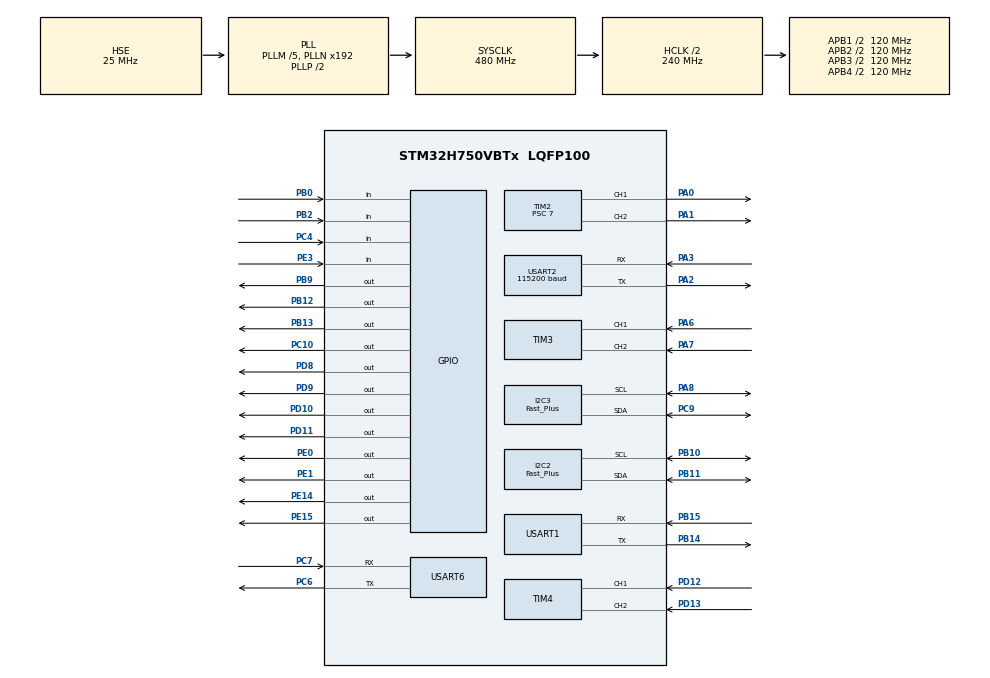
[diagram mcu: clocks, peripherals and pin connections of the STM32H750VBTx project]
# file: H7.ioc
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CORTEX_M7.default_mode_Activation=1
I2C2.I2C_Speed_Mode=I2C_Fast_Plus
I2C2.Timing=0x0050174F
I2C3.I2C_Speed_Mode=I2C_Fast_Plus
I2C3.Timing=0x0050174F
Mcu.Family=STM32H7
Mcu.Name=STM32H750VBTx
Mcu.Package=LQFP100
NVIC.PriorityGroup=NVIC_PRIORITYGROUP_4
NVIC.TIM3_IRQn=true\:0\:0\:false\:false\:true\:true\:true\:true
NVIC.TIM4_IRQn=true\:0\:0\:false\:false\:true\:true\:true\:true
NVIC.TIM5_IRQn=true\:0\:0\:false\:false\:true\:true\:true\:true
NVIC.USART1_IRQn=true\:0\:0\:false\:false\:true\:true\:true\:true
NVIC.USART2_IRQn=true\:0\:0\:false\:false\:true\:true\:true\:true
NVIC.USART6_IRQn=true\:0\:0\:false\:false\:true\:true\:true\:true
PA0.Signal=S_TIM2_CH1_ETR
PA1.Signal=S_TIM2_CH2
PA2.Mode=Asynchronous
PA2.Signal=USART2_TX
PA3.Mode=Asynchronous
PA3.Signal=USART2_RX
PA6.Signal=S_TIM3_CH1
PA7.Signal=S_TIM3_CH2
PA8.Mode=I2C
PA8.Signal=I2C3_SCL
PB0.GPIO_PuPd=GPIO_PULLUP
PB0.Signal=GPIO_Input
PB10.Mode=I2C
PB10.Signal=I2C2_SCL
PB11.Mode=I2C
PB11.Signal=I2C2_SDA
PB12.Signal=GPIO_Output
PB13.Signal=GPIO_Output
PB14.Mode=Asynchronous
PB14.Signal=USART1_TX
PB15.Mode=Asynchronous
PB15.Signal=USART1_RX
PB2.GPIO_PuPd=GPIO_PULLUP
PB2.Signal=GPIO_Input
PB9.Signal=GPIO_Output
PC10.PinState=GPIO_PIN_SET
PC10.Signal=GPIO_Output
PC4.GPIO_PuPd=GPIO_PULLUP
PC4.Signal=GPIO_Input
PC6.Mode=Asynchronous
PC6.Signal=USART6_TX
PC7.Mode=Asynchronous
PC7.Signal=USART6_RX
PC9.Mode=I2C
PC9.Signal=I2C3_SDA
PD10.Signal=GPIO_Output
PD11.PinState=GPIO_PIN_SET
PD11.Signal=GPIO_Output
PD12.Signal=S_TIM4_CH1
PD13.Signal=S_TIM4_CH2
PD8.Signal=GPIO_Output
PD9.Signal=GPIO_Output
PE0.PinState=GPIO_PIN_SET
PE0.Signal=GPIO_Output
PE1.PinState=GPIO_PIN_SET
PE1.Signal=GPIO_Output
PE14.PinState=GPIO_PIN_SET
PE14.Signal=GPIO_Output
PE15.PinState=GPIO_PIN_SET
PE15.Signal=GPIO_Output
PE3.Signal=GPIO_Input
PH0-OSC_IN\ (PH0).Mode=HSE-External-Oscillator
PH0-OSC_IN\ (PH0).Signal=RCC_OSC_IN
PH1-OSC_OUT\ (PH1).Mode=HSE-External-Oscillator
PH1-OSC_OUT\ (PH1).Signal=RCC_OSC_OUT
ProjectManager.HeapSize=0x200
ProjectManager.StackSize=0x400
ProjectManager.TargetToolchain=MDK-ARM V5.32
RCC.ADCFreq_Value=50390625
RCC.APB1Freq_Value=120000000
RCC.APB2Freq_Value=120000000
RCC.APB3Freq_Value=120000000
RCC.APB4Freq_Value=120000000
RCC.CortexFreq_Value=480000000
RCC.D1PPRE=RCC_APB3_DIV2
RCC.D2PPRE1=RCC_APB1_DIV2
RCC.D2PPRE2=RCC_APB2_DIV2
RCC.D3PPRE=RCC_APB4_DIV2
RCC.DIVM1=5
RCC.DIVN1=192
RCC.HCLKFreq_Value=240000000
RCC.HPRE=RCC_HCLK_DIV2
RCC.PLL2FRACN=0
RCC.PLL3FRACN=0
RCC.PLLFRACN=0
RCC.PLLSourceVirtual=RCC_PLLSOURCE_HSE
RCC.SYSCLKFreq_VALUE=480000000
RCC.SYSCLKSource=RCC_SYSCLKSOURCE_PLLCLK
RCC.USBFreq_Value=480000000
SH.S_TIM2_CH1_ETR.0=TIM2_CH1,PWM Generation1 CH1
SH.S_TIM2_CH2.0=TIM2_CH2,PWM Generation2 CH2
SH.S_TIM3_CH1.0=TIM3_CH1,Encoder_Interface
SH.S_TIM3_CH2.0=TIM3_CH2,Encoder_Interface
SH.S_TIM4_CH1.0=TIM4_CH1,Encoder_Interface
SH.S_TIM4_CH2.0=TIM4_CH2,Encoder_Interface
TIM2.Channel-PWM\ Generation1\ CH1=TIM_CHANNEL_1
TIM2.Channel-PWM\ Generation2\ CH2=TIM_CHANNEL_2
TIM2.Period=9999
TIM2.Prescaler=7
TIM3.AutoReloadPreload=TIM_AUTORELOAD_PRELOAD_ENABLE
TIM3.EncoderMode=TIM_ENCODERMODE_TI12
TIM4.AutoReloadPreload=TIM_AUTORELOAD_PRELOAD_ENABLE
TIM4.EncoderMode=TIM_ENCODERMODE_TI12
TIM4.IC1Polarity=TIM_ICPOLARITY_RISING
TIM4.IC2Polarity=TIM_ICPOLARITY_RISING
TIM5.AutoReloadPreload=TIM_AUTORELOAD_PRELOAD_ENABLE
TIM5.Period=9999
TIM5.Prescaler=239
USART1.VirtualMode-Asynchronous=VM_ASYNC
USART2.BaudRate=115200
USART2.VirtualMode-Asynchronous=VM_ASYNC
USART6.VirtualMode=VM_ASYNC
VP_TIM5_VS_ClockSourceINT.Mode=Internal
board=custom

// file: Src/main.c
/* USER CODE BEGIN Header */
/**
  ******************************************************************************
  * @file           : main.c
  * @brief          : Main program body
  ******************************************************************************
  * @attention
  *
  * Copyright (c) 2024 STMicroelectronics.
  * All rights reserved.
  *
  * This software is licensed under terms that can be found in the LICENSE file
  * in the root directory of this software component.
  * If no LICENSE file comes with this software, it is provided AS-IS.
  *
  ******************************************************************************
  */
/* USER CODE END Header */
#include "main.h"
#include "i2c.h"
#include "tim.h"
#include "usart.h"
#include "gpio.h"

/* USER CODE BEGIN Includes */
#include "oled.h"
#include "stdio.h"
#include <stdarg.h>
#include "motor.h"
#include "control.h"
#include "uart_it.h"

//********************************************************
uint8_t angle=150;   //90  120
uint8_t state = 0;   //串口状???
uint8_t Date[10] = {0}; //接收数组
uint8_t state1 = 0;   //串口状???
uint8_t Date1[20] = {0}; //接收数组
uint16_t shuliang = 0;   //数字个数
int number[4] = {0};
uint8_t tick = 0;
int color =0; //当前胶带颜色 0red 1black 2wuse
uint8_t T_num=0;
//*********************************************************

//||||||||||||||||||||||||||||||||||||||||||||||||||||||||||//

uint8_t
hhh,hhhh,hhhhh=0,									//一次性变量用与使特定程序只执行一次
zhongbingfangnum[2]={0},				//中间病房
for_ru_num[4]={0},							//4数字位置
moweibingfangnum[2]={0},					//终点病房数字位置
zhuanwan[4]={'A',0,0,0},
back=0,
BL_RX[12]={0},
BL_RX4[4]={0};
;
union blue
{
	uint8_t RX_B[4];
	float   ffff;

};
union blue blue_RX;
int
lukou=0,				//路口变量lukou为当前第几次路口，zhuanwan[]为第几次路口时的运动方向，用于返回
zhuangtai01 = -1,//用于确定车的普通状态，-1初始位置停止，0去时巡线执行，1转弯，2病房处停止，3病房处转一圈，4回时巡线，5回时巡线转弯，6任务结束停止,7拐弯巡线
zhuangtai02 = -1,//用于确定车的发挥1状态，-1,停止，0正常寻线，1找到岔路口判断是否转弯并发送自己转弯状态，3低速巡线走，4黑线停止并发送命令（启动）并等待接收
zhuangtai03=-1,		//用于确定车的发挥1状态，-1,停止，0正常寻线，1找到岔路口判断是否转弯并发送自己转弯状态和附属车转弯状态，2二号岔路口等待附属车传参,3低速巡线走，4黑线停止，5转弯并发送命令等待接收附属车到位（同侧和非同侧），6任务结束
timu=0
;
uint64_t set_jvli_A,set_jvli_B;
/* USER CODE END Includes */

/* USER CODE BEGIN PTD */
void led(char ch)
{
	if(ch=='F')
	{
		HAL_GPIO_WritePin(GPIOB,GPIO_PIN_9,GPIO_PIN_RESET);
		HAL_GPIO_WritePin(GPIOE,GPIO_PIN_0,GPIO_PIN_SET);
		HAL_GPIO_WritePin(GPIOE,GPIO_PIN_1,GPIO_PIN_SET);
	}
	else if(ch=='G')
	{	HAL_GPIO_WritePin(GPIOB,GPIO_PIN_9,GPIO_PIN_SET);
		HAL_GPIO_WritePin(GPIOE,GPIO_PIN_0,GPIO_PIN_SET);
		HAL_GPIO_WritePin(GPIOE,GPIO_PIN_1,GPIO_PIN_SET);}
	else if(ch=='Y')
	{	HAL_GPIO_WritePin(GPIOB,GPIO_PIN_9,GPIO_PIN_RESET);
		HAL_GPIO_WritePin(GPIOE,GPIO_PIN_0,GPIO_PIN_SET);
		HAL_GPIO_WritePin(GPIOE,GPIO_PIN_1,GPIO_PIN_RESET);}
	else if(ch=='R')
	{	HAL_GPIO_WritePin(GPIOB,GPIO_PIN_9,GPIO_PIN_RESET);
		HAL_GPIO_WritePin(GPIOE,GPIO_PIN_0,GPIO_PIN_RESET);
		HAL_GPIO_WritePin(GPIOE,GPIO_PIN_1,GPIO_PIN_SET);}
}
/* USER CODE END PTD */

void SystemClock_Config(void);
static void MPU_Config(void);

int main(void)
{

  /* MPU Configuration--------------------------------------------------------*/
  MPU_Config();

  /* MCU Configuration--------------------------------------------------------*/

  /* Reset of all peripherals, Initializes the Flash interface and the Systick. */
  HAL_Init();

  /* Configure the system clock */
  SystemClock_Config();

  /* Initialize all configured peripherals */
  MX_GPIO_Init();
  MX_I2C2_Init();
  MX_TIM2_Init();
  MX_TIM3_Init();
  MX_TIM4_Init();
  MX_USART2_UART_Init();
  MX_I2C3_Init();
  MX_TIM5_Init();
  MX_USART1_UART_Init();
  MX_USART6_UART_Init();
  /* USER CODE BEGIN 2 */
	OLED_Init();
	OLED_FullyClear();
	OLED_ShowChar(0,0,'T',16);
	OLED_ShowChar(16,0,'T',16);
	while(1)//题目菜单
	{
		if(HAL_GPIO_ReadPin(GPIOB,GPIO_PIN_2)==0)
		{
		timu++;
		if(timu>3)
		{
		timu=0;
		}
		if(timu==0)
		{
		OLED_ShowChar(0,0,'T',16);
		OLED_ShowChar(16,0,'T',16);
		}
		if(timu==1)
		{
		OLED_ShowChar(0,0,'F',16);
		OLED_ShowChar(16,0,'1',16);
		}
		if(timu==2)
		{
		OLED_ShowChar(0,0,'F',16);
		OLED_ShowChar(16,0,'2',16);
		}
		if(timu==3)
		{
		OLED_ShowChar(0,0,'F',16);
		OLED_ShowChar(16,0,'6',16);
		}
		HAL_Delay(300);
		}
		else if(HAL_GPIO_ReadPin(GPIOB,GPIO_PIN_0)==0)
		{
			if(timu==1)
			{
			uint8_t blu_tX[3]={0XF0,0X01,0X0F};
			HAL_UART_Transmit(&huart2,blu_tX,3,0Xffff);
			}
			else	if(timu==2)
			{
			uint8_t blu_tX[3]={0XF0,0X02,0X0F};
			HAL_UART_Transmit(&huart2,blu_tX,3,0Xffff);
			}
			OLED_FullyClear();
			break;
		}
		HAL_Delay(1);
	}
	//init
	HAL_TIM_Encoder_Start(&htim3,TIM_CHANNEL_1|TIM_CHANNEL_2);
	HAL_TIM_Encoder_Start(&htim4,TIM_CHANNEL_1|TIM_CHANNEL_2);
	HAL_TIM_PWM_Start(&htim2,TIM_CHANNEL_1);
	HAL_TIM_PWM_Start(&htim2,TIM_CHANNEL_2);
	int i=0;
  motor_init();
	char dir[8];
	int num_shu[4] = {0};
	for(i=0;i<10;i++)
	{
  uart_it_init();
		if(timu==1)
		{
	HAL_UART_Receive_IT(&huart2,BL_RX,12);
		}
		else
			HAL_UART_Receive_IT(&huart2,BL_RX,4);
	HAL_Delay(10);
	}
	HAL_TIM_Base_Start_IT(&htim3);
	HAL_TIM_Base_Start_IT(&htim4);
	HAL_TIM_Base_Start_IT(&htim5);
	int cnt=0;
	hhh=0;

	Tv_A=0;Tv_B=0;
  /* USER CODE END 2 */

  /* Infinite loop */
  /* USER CODE BEGIN WHILE */

  while (1)
  {

		if (state == 1)    //串口1接收完毕,等待处理
    {
      width =Date[0];
      now = Date[1];
			color = Date[2];
      state = 0;
    }										//

		if(timu==0)
		{
		while(zhuangtai01==-1&&HAL_GPIO_ReadPin(GPIOE,GPIO_PIN_3)==0)
		{
		cnt++;
		HAL_Delay(10);
			if(cnt>150)
			{
			cnt=0;
			zhuangtai01=0;
			}
		}

		while(zhuangtai01==2&&HAL_GPIO_ReadPin(GPIOE,GPIO_PIN_3)==1)
		{
		cnt++;
		HAL_Delay(10);
			if(cnt>150)
			{
			cnt=0;
			zhuangtai01=3;
				led('F');
			}
		}

		if(color==0&&width>=65&&hhh==0&&(zhuangtai01==0||zhuangtai01==7))//岔路口检测函数
		{led('Y');
			set_jvli_A=z_A;
			set_jvli_B=z_B;
			if(back==0)
			lukou++;
			else
			lukou--;
			zhuangtai01=1;
			hhh=1;//运行一次标志位
		}
		else if(color==0&&width<65&&(zhuangtai01==0||zhuangtai01==7))//标志位置0
		{
			led('F');
		hhh=0;
		}

		if(zhuangtai01!=1&&color==1&&hhh==0)
		{
			set_jvli_A=z_A;
			set_jvli_B=z_B;
			if(back==0)
				zhuangtai01=2;
			else
				zhuangtai01=6;
			hhh=1;
		}

		OLED_ShowChar(0,3,zhongbingfangnum[0]+'0',16);
		OLED_ShowChar(16,3,zhongbingfangnum[1]+'0',16);
		OLED_ShowChar(32,3,0,16);
		OLED_ShowChar(48,3,for_ru_num[0]+'0',16);
		OLED_ShowChar(64,3,for_ru_num[1]+'0',16);
		OLED_ShowChar(80,3,for_ru_num[2]+'0',16);
		OLED_ShowChar(96,3,for_ru_num[3]+'0',16);
		OLED_ShowChar(0,5,zhuanwan[0],16);
		OLED_ShowChar(17,5,zhuanwan[1],16);
		OLED_ShowChar(34,5,zhuanwan[2],16);
		OLED_ShowChar(51,5,zhuanwan[3],16);
		OLED_ShowStr1(78, 5,T_num, 1, 16);
		OLED_ShowStr1(0, 0, width, 3, 16);
		OLED_ShowStr1(32, 0,now,3, 16);
		OLED_ShowStr1(100, 0,lukou,2, 16);
		OLED_ShowStr1(64, 0,zhuangtai03,1, 16);

		}

		else if(timu==1)
		{
			OLED_ShowStr(0,0,(uint8_t *)"BLE",16);
			OLED_ShowStr1(0, 3,(int)v_A, 3, 16);
			OLED_ShowStr1(64, 3,(int)v_B,3, 16);
		}
    /* USER CODE END WHILE */

	}
}

void SystemClock_Config(void)
{
  RCC_OscInitTypeDef RCC_OscInitStruct = {0};
  RCC_ClkInitTypeDef RCC_ClkInitStruct = {0};

  /** Supply configuration update enable
  */
  HAL_PWREx_ConfigSupply(PWR_LDO_SUPPLY);

  /** Configure the main internal regulator output voltage
  */
  __HAL_PWR_VOLTAGESCALING_CONFIG(PWR_REGULATOR_VOLTAGE_SCALE1);

  while(!__HAL_PWR_GET_FLAG(PWR_FLAG_VOSRDY)) {}

  __HAL_RCC_SYSCFG_CLK_ENABLE();
  __HAL_PWR_VOLTAGESCALING_CONFIG(PWR_REGULATOR_VOLTAGE_SCALE0);

  while(!__HAL_PWR_GET_FLAG(PWR_FLAG_VOSRDY)) {}

  /** Initializes the RCC Oscillators according to the specified parameters
  * in the RCC_OscInitTypeDef structure.
  */
  RCC_OscInitStruct.OscillatorType = RCC_OSCILLATORTYPE_HSE;
  RCC_OscInitStruct.HSEState = RCC_HSE_ON;
  RCC_OscInitStruct.PLL.PLLState = RCC_PLL_ON;
  RCC_OscInitStruct.PLL.PLLSource = RCC_PLLSOURCE_HSE;
  RCC_OscInitStruct.PLL.PLLM = 5;
  RCC_OscInitStruct.PLL.PLLN = 192;
  RCC_OscInitStruct.PLL.PLLP = 2;
  RCC_OscInitStruct.PLL.PLLQ = 2;
  RCC_OscInitStruct.PLL.PLLR = 2;
  RCC_OscInitStruct.PLL.PLLRGE = RCC_PLL1VCIRANGE_2;
  RCC_OscInitStruct.PLL.PLLVCOSEL = RCC_PLL1VCOWIDE;
  RCC_OscInitStruct.PLL.PLLFRACN = 0;
  if (HAL_RCC_OscConfig(&RCC_OscInitStruct) != HAL_OK)
  {
    Error_Handler();
  }

  /** Initializes the CPU, AHB and APB buses clocks
  */
  RCC_ClkInitStruct.ClockType = RCC_CLOCKTYPE_HCLK|RCC_CLOCKTYPE_SYSCLK
                              |RCC_CLOCKTYPE_PCLK1|RCC_CLOCKTYPE_PCLK2
                              |RCC_CLOCKTYPE_D3PCLK1|RCC_CLOCKTYPE_D1PCLK1;
  RCC_ClkInitStruct.SYSCLKSource = RCC_SYSCLKSOURCE_PLLCLK;
  RCC_ClkInitStruct.SYSCLKDivider = RCC_SYSCLK_DIV1;
  RCC_ClkInitStruct.AHBCLKDivider = RCC_HCLK_DIV2;
  RCC_ClkInitStruct.APB3CLKDivider = RCC_APB3_DIV2;
  RCC_ClkInitStruct.APB1CLKDivider = RCC_APB1_DIV2;
  RCC_ClkInitStruct.APB2CLKDivider = RCC_APB2_DIV2;
  RCC_ClkInitStruct.APB4CLKDivider = RCC_APB4_DIV2;

  if (HAL_RCC_ClockConfig(&RCC_ClkInitStruct, FLASH_LATENCY_4) != HAL_OK)
  {
    Error_Handler();
  }
}

/* USER CODE BEGIN 4 */

void HAL_UART_RxCpltCallback(UART_HandleTypeDef *huart)
{

  if(huart == &huart1)
  {
		uart_it_receive(&huart1,Date,&state);
  }

	else if(huart == &huart6)
  {
		uart_it_receive1(&huart6,Date1,&state1);

  }
	else if(huart == &huart2)
  {
		if(timu==1)
		{
		if(BL_RX[0]==0XA5&&BL_RX[11]==0X5A)
		{
			if(BL_RX[1]==1)
			{
				hhhhh=1;
				set_jvli_A=z_A;
				set_jvli_B=z_B;
				get_T_distence(set_jvli_A,set_jvli_B);
			}
			else if(BL_RX[1]==2)
			{
				hhhhh=2;
			}
			else
			{
				hhhhh=0;
				blue_RX.RX_B[0]=BL_RX[2];
				blue_RX.RX_B[1]=BL_RX[3];
				blue_RX.RX_B[2]=BL_RX[4];
				blue_RX.RX_B[3]=BL_RX[5];
				Tv_A=blue_RX.ffff;
				Tv_B=blue_RX.ffff;
				blue_RX.RX_B[0]=BL_RX[6];
				blue_RX.RX_B[1]=BL_RX[7];
				blue_RX.RX_B[2]=BL_RX[8];
				blue_RX.RX_B[3]=BL_RX[9];
				Tv_A=Tv_A+blue_RX.ffff/3;
				Tv_B=Tv_B-blue_RX.ffff/3;
			}

		}

		HAL_UART_Receive_IT(&huart2,BL_RX,12);

		}
		else
		{
			int ccccc;
			for(ccccc=0;ccccc<4;ccccc++)
			{
			if(BL_RX[ccccc]==0)
			{
			zhuanwan[ccccc]=0;
			}
			else if(BL_RX[ccccc]==1)
			{
			zhuanwan[ccccc]='A';
			}
			else if(BL_RX[ccccc]==2)
			{
			zhuanwan[ccccc]='B';
			}

			}
			HAL_UART_Receive_IT(&huart2,BL_RX,4);
		}
  }
}

void HAL_TIM_PeriodElapsedCallback(TIM_HandleTypeDef *htim)
{

  if (htim == &htim3)
  {
		if(v_A>=0)
    ceh_A++;   //tim1计数溢出
		else
			ceh_A--;
  }

  if (htim == &htim4)
  {
		if(v_B>=0)
    ceh_B++;  //tim8计数溢出
		else
			ceh_B--;
  }

  if (htim == &htim5)
  {

    motor_handle();   //速度pid控制
		if(tick==1){
			if(timu==0)
			{
      if (zhuangtai01 == -1)//初始停止状态
      {
					Tv_A=0;
					Tv_B=0;
      }
			else if (zhuangtai01 == 0||zhuangtai01==7)//巡线状态
      {
					line_pid(80,zhuangtai01);
      }
			else if(zhuangtai01==1)//转弯状态相关
			{
				if(back==0)
				{
					if(zhuanwan[lukou-1]=='A')
					{
						if(z_A<set_jvli_A+700 && z_B<set_jvli_B+700 ){line_pid(80,zhuangtai01);}
					else
					{
					get_T_distence(set_jvli_A+700,set_jvli_B+700+1700);
					distence_A_pid();
					distence_B_pid();
					if(distence_A_er*distence_A_er<10&&distence_B_er*distence_B_er<10)
					{
					zhuangtai01=7;
					}
					}

					}
					else if(zhuanwan[lukou-1]=='B')
					{
					if(z_A<set_jvli_A+700 && z_B<set_jvli_B+700 ){line_pid(80,zhuangtai01);}
					else
					{
					get_T_distence(set_jvli_A+700+1700,set_jvli_B+700);
					distence_A_pid();
					distence_B_pid();
					if(distence_A_er*distence_A_er<10&&distence_B_er*distence_B_er<10)
					{
					zhuangtai01=7;
					}
					}
					}
					else
						zhuangtai01 = 0;
				}
				else
				{
					if(zhuanwan[lukou]=='A')
					{
						if(hhhh==0&&z_A<set_jvli_A+700 && z_B<set_jvli_B+700 )
					{
					get_T_distence(set_jvli_A+700+1700,set_jvli_B+700);
					line_pid(80,zhuangtai01);
					}
					else
						hhhh=1;
					if(hhhh==1)
					{
						distence_A_pid();
						distence_B_pid();
						if(distence_A_er*distence_A_er<10&&distence_B_er*distence_B_er<10)
						{
							hhhh=0;
						zhuangtai01 = 0;
						}
					}
					}
					else if(zhuanwan[lukou]=='B')
					{
					if(hhhh==0&&z_A<set_jvli_A+700 && z_B<set_jvli_B+700 )
					{
					get_T_distence(set_jvli_A+700,set_jvli_B+700+1700);
					line_pid(80,zhuangtai01);
					}
					else
						hhhh=1;
					if(hhhh==1)
					{
						distence_A_pid();
						distence_B_pid();
						if(distence_A_er*distence_A_er<10&&distence_B_er*distence_B_er<10)
						{
							hhhh=0;
						zhuangtai01 = 0;
						}
					}

					}
					else
						zhuangtai01 = 0;
				}
			}

			else if(zhuangtai01==2||zhuangtai01==6)//任务点停止状态|任务结束状态
			{
			if(zhuangtai01==2)
			{
			led('R');
			}
			if(zhuangtai01==6)
			{
			led('G');
			}
			get_T_distence(set_jvli_A,set_jvli_B);
			distence_A_pid();
			distence_B_pid();
			}
			else if(zhuangtai01==3)//任务点返回时转弯状态
			{
				if(hhhh==0)
				{
				set_jvli_A=z_A;
				set_jvli_B=z_B;
				hhhh=1;
				}
				else if(hhhh==1)
				{
				get_T_distence(set_jvli_A+1500,set_jvli_B+1500);
				distence_B_pid();
				distence_A_pid();
				if(distence_A_er*distence_A_er<10&&distence_B_er*distence_B_er<10)
					hhhh=2;
				}

				else if(hhhh==2)
				{
				get_T_distence(set_jvli_A+1500,set_jvli_B+1500-1700);
				distence_B_pid();
				distence_A_pid();
				if(distence_A_er*distence_A_er<10&&distence_B_er*distence_B_er<10)
					hhhh=3;
				}
				else if (hhhh==3)
				{
				distence_B_pid();
				Tv_A=20;
				if(color==0)
				{
				back=1;
				hhhh=0;
				zhuangtai01=7;
				}
				}
			}
			}

			else if(timu==1)
			{
				if(hhhhh==1)
				{
					distence_A_pid();
					distence_B_pid();
				}
				else if(hhhhh==2)
				{
					line_pid(80,0);
				}
			}

		tick=0;
		}
		else
		{tick++;}
	}
}

int fputc(int ch, FILE *f)
{
	HAL_UART_Transmit(&huart2, (uint8_t *)&ch, 1, 0xffff);
	return ch;
}
/* USER CODE END 4 */

 /* MPU Configuration */

void MPU_Config(void)
{
  MPU_Region_InitTypeDef MPU_InitStruct = {0};

  /* Disables the MPU */
  HAL_MPU_Disable();

  /** Initializes and configures the Region and the memory to be protected
  */
  MPU_InitStruct.Enable = MPU_REGION_ENABLE;
  MPU_InitStruct.Number = MPU_REGION_NUMBER0;
  MPU_InitStruct.BaseAddress = 0x0;
  MPU_InitStruct.Size = MPU_REGION_SIZE_4GB;
  MPU_InitStruct.SubRegionDisable = 0x87;
  MPU_InitStruct.TypeExtField = MPU_TEX_LEVEL0;
  MPU_InitStruct.AccessPermission = MPU_REGION_NO_ACCESS;
  MPU_InitStruct.DisableExec = MPU_INSTRUCTION_ACCESS_DISABLE;
  MPU_InitStruct.IsShareable = MPU_ACCESS_SHAREABLE;
  MPU_InitStruct.IsCacheable = MPU_ACCESS_NOT_CACHEABLE;
  MPU_InitStruct.IsBufferable = MPU_ACCESS_NOT_BUFFERABLE;

  HAL_MPU_ConfigRegion(&MPU_InitStruct);
  /* Enables the MPU */
  HAL_MPU_Enable(MPU_PRIVILEGED_DEFAULT);

}

void Error_Handler(void)
{
  __disable_irq();
  while (1)
  {
  }
}
